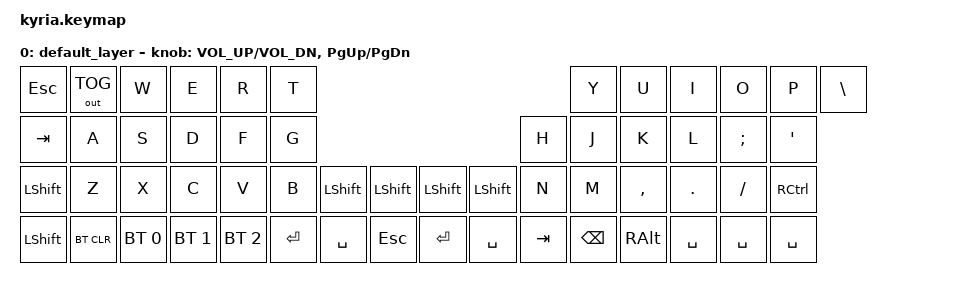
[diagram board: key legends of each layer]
/*
 * Copyright (c) 2020 The ZMK Contributors
 *
 * SPDX-License-Identifier: MIT
 */

#include <behaviors.dtsi>
#include <dt-bindings/zmk/keys.h>
#include <dt-bindings/zmk/outputs.h>
#include <dt-bindings/zmk/bt.h>

/ {
	keymap {
		compatible = "zmk,keymap";

		default_layer {
// ---------------------------------------------------------------------------------------------------------------------------------
// |  ESC  |  Q  |  W  |  E   |  R   |  T   |                                          |  Y   |  U    |  I    |  O   |   P   |   \  |
// |  TAB  |  A  |  S  |  D   |  F   |  G   |                                          |  H   |  J    |  K    |  L   |   ;   |   '  |
// | SHIFT |  B  |  X  |  C   |  V   |  B   | L SHIFT | L SHIFT |  | L SHIFT | L SHIFT |  N   |  M    |  ,    |  .   |   /   | CTRL |
// | SHIFT | CLR | SEL0| SEL1 | SEL2 | RET  |  SPACE  |   ESC   |  |   RET   |  SPACE  | TAB  | BSPC  | R-ALT |
			bindings = <
	&kp ESC   &out OUT_TOG &kp W &kp E &kp R &kp T                                                &kp Y &kp U  &kp I     &kp O   &kp P    &kp BSLH
	&kp TAB   &kp A &kp S &kp D &kp F &kp G                                                &kp H &kp J  &kp K     &kp L   &kp SEMI &kp SQT
	&kp LSHFT &kp Z &kp X &kp C &kp V &kp B &kp LSHFT &kp LSHFT        &kp LSHFT &kp LSHFT &kp N &kp M  &kp COMMA &kp DOT &kp FSLH &kp RCTRL
	&kp LSHFT &bt BT_CLR &bt BT_SEL 0 &bt BT_SEL 1 &bt BT_SEL 2 &kp RET &kp SPACE &kp ESC        &kp RET  &kp SPACE  &kp TAB &kp BSPC &kp RALT &kp SPACE &kp SPACE &kp SPACE
			>;

			sensor-bindings = <&inc_dec_kp C_VOL_UP C_VOL_DN &inc_dec_kp PG_UP PG_DN>;
		};
	};
};
